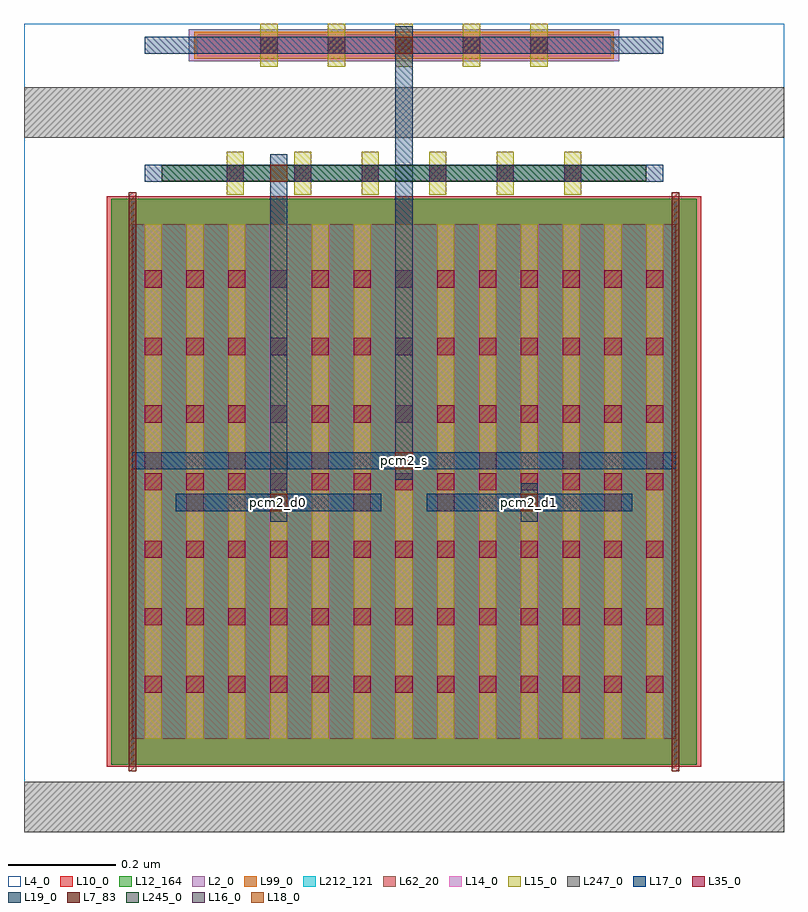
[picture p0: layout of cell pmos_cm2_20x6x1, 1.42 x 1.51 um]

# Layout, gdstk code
import gdstk
lib = gdstk.Library(unit=1e-6, precision=1e-12)
def R(c, l, rs):  # rectangles x0, y0, x1, y1
    for r in rs: c.add(gdstk.rectangle(r[:2], r[2:], *l))
def A(c, l, x, y, w, h, nx, ny, dx, dy):  # array of equal rectangles
    R(c, l, [(x+i*dx, y+j*dy, x+i*dx+w, y+j*dy+h) for i in range(nx) for j in range(ny)])
L2_0 = (2, 0)
L4_0 = (4, 0)
L7_83 = (7, 83)
L10_0 = (10, 0)
L12_164 = (12, 164)
L14_0 = (14, 0)
L15_0 = (15, 0)
L16_0 = (16, 0)
L17_0 = (17, 0)
L18_0 = (18, 0)
L19_0 = (19, 0)
L35_0 = (35, 0)
L62_20 = (62, 20)
L99_0 = (99, 0)
L212_121 = (212, 121)
L245_0 = (245, 0)
L247_0 = (247, 0)

pmos_cm2_20x6x1 = lib.new_cell('pmos_cm2_20x6x1')
R(pmos_cm2_20x6x1, L2_0, [(0,0,1.014,0.96), (0.1058,1.264,0.9082,1.324)])
R(pmos_cm2_20x6x1, L4_0, [(-0.202,-0.174,1.216,1.334)])
R(pmos_cm2_20x6x1, L7_83, [(-0.007,-0.06,0.007,1.02), (1.007,-0.06,1.021,1.02)])
R(pmos_cm2_20x6x1, L10_0, [(-0.048,-0.052,1.062,1.012)])
R(pmos_cm2_20x6x1, L12_164, [(-0.039,-0.048,1.053,1.008)])
A(pmos_cm2_20x6x1, L14_0, 0.022, 0, 0.034, 0.96, 13, 1, 0.078, 0)
R(pmos_cm2_20x6x1, L14_0, [(0.1208,1.274,0.8932,1.314)])
A(pmos_cm2_20x6x1, L15_0, 0.023, 0, 0.032, 0.96, 13, 1, 0.078, 0)
A(pmos_cm2_20x6x1, L15_0, 0.176, 1.015, 0.032, 0.08, 6, 1, 0.126, 0)
A(pmos_cm2_20x6x1, L15_0, 0.239, 1.254, 0.032, 0.08, 5, 1, 0.126, 0)
A(pmos_cm2_20x6x1, L16_0, 0.101, 0.425, 0.032, 0.032, 6, 1, 0.156, 0)
A(pmos_cm2_20x6x1, L16_0, 0.023, 0.503, 0.032, 0.032, 7, 1, 0.156, 0)
A(pmos_cm2_20x6x1, L16_0, 0.176, 1.039, 0.032, 0.032, 6, 1, 0.126, 0)
A(pmos_cm2_20x6x1, L16_0, 0.239, 1.278, 0.032, 0.032, 5, 1, 0.126, 0)
R(pmos_cm2_20x6x1, L17_0, [(0.081,0.425,0.465,0.457), (0.549,0.425,0.933,0.457), (0,0.503,1.014,0.535), (0.023,1.039,0.991,1.071), (0.023,1.278,0.991,1.31)])
R(pmos_cm2_20x6x1, L18_0, [(0.257,0.425,0.289,0.457), (0.725,0.425,0.757,0.457), (0.491,0.503,0.523,0.535), (0.257,1.039,0.289,1.071), (0.491,1.278,0.523,1.31)])
R(pmos_cm2_20x6x1, L19_0, [(0.257,0.405,0.289,1.091), (0.725,0.405,0.757,0.477), (0.491,0.483,0.523,1.33)])
A(pmos_cm2_20x6x1, L35_0, 0.023, 0.086, 0.032, 0.032, 13, 7, 0.078, 0.126)
A(pmos_cm2_20x6x1, L35_0, 0.176, 1.039, 0.032, 0.032, 6, 1, 0.126, 0)
A(pmos_cm2_20x6x1, L35_0, 0.239, 1.278, 0.032, 0.032, 5, 1, 0.126, 0)
R(pmos_cm2_20x6x1, L62_20, [(0,0,1.014,0.96)])
R(pmos_cm2_20x6x1, L99_0, [(0,0,1.014,0.96), (0.1158,1.269,0.8982,1.319)])
R(pmos_cm2_20x6x1, L212_121, [(0,0,1.014,0.96)])
R(pmos_cm2_20x6x1, L245_0, [(0.055,1.04,0.959,1.07)])
R(pmos_cm2_20x6x1, L247_0, [(-0.202,-0.174,1.216,-0.08), (-0.202,1.122,1.216,1.216)])
pmos_cm2_20x6x1.add(gdstk.Label('pcm2_s', (0.507,0.519), layer=16, texttype=20))
pmos_cm2_20x6x1.add(gdstk.Label('pcm2_d1', (0.741,0.441), layer=16, texttype=20))
pmos_cm2_20x6x1.add(gdstk.Label('pcm2_d0', (0.273,0.441), layer=16, texttype=20))

lib.write_gds('pmos_cm2_20x6x1.gds')
